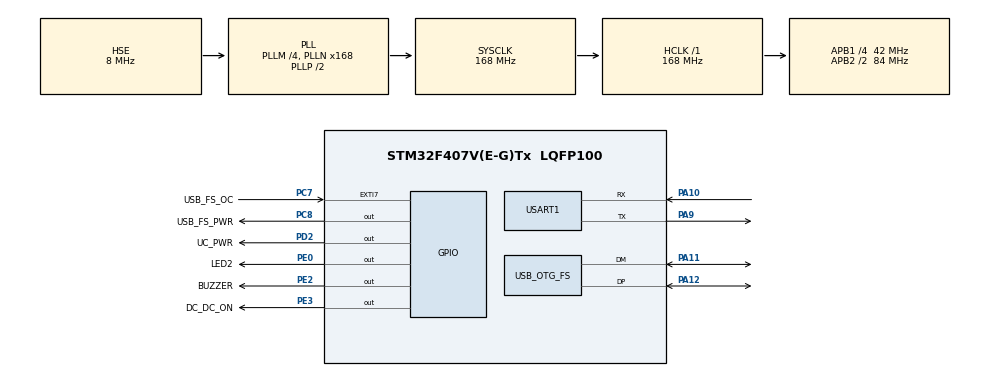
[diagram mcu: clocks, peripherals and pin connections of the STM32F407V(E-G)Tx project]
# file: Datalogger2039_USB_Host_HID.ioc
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Mcu.Family=STM32F4
PH0-OSC_IN.Signal=RCC_OSC_IN
RCC.CortexFreq_Value=168000000
PA10.Mode=Asynchronous
PC8.Signal=GPIO_Output
USB_HOST0.BSP.solution=PC8
PE2.GPIO_Speed=GPIO_SPEED_FREQ_VERY_HIGH
USB_HOST.BSP.number=1
PA11.Mode=Host_Only
PD2.GPIO_Speed=GPIO_SPEED_FREQ_VERY_HIGH
RCC.APB1CLKDivider=RCC_HCLK_DIV4
VP_USB_HOST_VS_USB_HOST_HID_FS.Mode=HID_FS
RCC.SYSCLKSource=RCC_SYSCLKSOURCE_PLLCLK
ProjectManager.StackSize=0x2000
PE0.GPIO_Speed=GPIO_SPEED_FREQ_VERY_HIGH
USB_HOST0.BSP.STBoard=false
PC8.GPIO_Label=USB_FS_PWR
PE0.PinState=GPIO_PIN_SET
PA9.Mode=Asynchronous
PA12.Signal=USB_OTG_FS_DP
ProjectManager.TargetToolchain=STM32CubeIDE
RCC.HCLKFreq_Value=168000000
RCC.APB2TimFreq_Value=168000000
PA9.Signal=USART1_TX
PC7.Signal=GPXTI7
USB_HOST0.BSP.ip=GPIO
RCC.LSE_VALUE=32768
RCC.AHBFreq_Value=168000000
PH0-OSC_IN.Mode=HSE-External-Oscillator
PE3.PinState=GPIO_PIN_SET
RCC.HSE_VALUE=8000000
USB_OTG_FS.phy_itface=HCD_PHY_EMBEDDED
board=custom
RCC.VCOOutputFreq_Value=336000000
USB_HOST.VirtualModeFS=Hid
RCC.APB2Freq_Value=84000000
USB_HOST0.BSP.api=Unknown
USB_HOST.USBH_HandleTypeDef-HID_FS=hUsbHostFS
PH1-OSC_OUT.Signal=RCC_OSC_OUT
PE2.Signal=GPIO_Output
USB_HOST.USBH_DEBUG_LEVEL-HID_FS=3
Mcu.Name=STM32F407V(E-G)Tx
PE0.Signal=GPIO_Output
PC7.GPIO_Label=USB_FS_OC
PH1-OSC_OUT.Mode=HSE-External-Oscillator
RCC.48MHZClocksFreq_Value=48000000
USB_HOST0.BSP.i2caddr=0
RCC.SYSCLKFreq_VALUE=168000000
Mcu.Package=LQFP100
PA12.Mode=Host_Only
PE3.GPIO_Speed=GPIO_SPEED_FREQ_VERY_HIGH
NVIC.OTG_FS_IRQn=true\:0\:0\:false\:false\:true\:false\:true
USART1.VirtualMode=VM_ASYNC
PA11.Signal=USB_OTG_FS_DM
NVIC.EXTI9_5_IRQn=true\:0\:0\:false\:false\:true\:true\:true
PA10.Signal=USART1_RX
USB_OTG_FS.VirtualMode=Host_Only
ProjectManager.HeapSize=0x2000
PC8.GPIO_Speed=GPIO_SPEED_FREQ_VERY_HIGH
PE0.GPIO_Label=LED2
RCC.HSI_VALUE=16000000
RCC.PLLQ=7
NVIC.PriorityGroup=NVIC_PRIORITYGROUP_4
USB_HOST0.BSP.name=Drive_VBUS_FS
RCC.APB2CLKDivider=RCC_HCLK_DIV2
RCC.PLLM=4
RCC.PLLN=168
RCC.APB1TimFreq_Value=84000000
PE3.Signal=GPIO_Output
PE3.GPIO_Label=DC_DC_ON
PD2.Signal=GPIO_Output
NVIC.USART1_IRQn=true\:0\:0\:false\:false\:true\:true\:true
RCC.APB1Freq_Value=42000000
PE2.GPIO_Label=BUZZER
USB_HOST0.BSP.mode=Output
PD2.GPIO_Label=UC_PWR
USB_HOST0.BSP.instance=PC8

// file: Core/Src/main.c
/* USER CODE BEGIN Header */
/**
 ******************************************************************************
 * @file           : main.c
 * @brief          : Main program body
 ******************************************************************************
 * @attention
 *
 * <h2><center>&copy; Copyright (c) 2021 STMicroelectronics.
 * All rights reserved.</center></h2>
 *
 * This software component is licensed by ST under BSD 3-Clause license,
 * the "License"; You may not use this file except in compliance with the
 * License. You may obtain a copy of the License at:
 *                        opensource.org/licenses/BSD-3-Clause
 *
 ******************************************************************************
 */
/* USER CODE END Header */
#include "main.h"
#include "usb_host.h"

/* USER CODE BEGIN Includes */
#include <stdio.h>
/* USER CODE END Includes */

UART_HandleTypeDef huart1;

/* USER CODE BEGIN PV */
uint32_t usb_failure_timeout = 0;
uint32_t usb_failure_timeout2 = 0;
uint32_t usb_failure_timeout3 = 0;
uint32_t usb1_failure_cnt = 0;
uint32_t usb1_fail_freq = 0;
uint8_t usb1_failure_flag = 0;
uint8_t usb1_failure_flag_old = 0;
/* USER CODE END PV */

void SystemClock_Config(void);
static void MX_GPIO_Init(void);
static void MX_USART1_UART_Init(void);
void MX_USB_HOST_Process(void);

/* USER CODE BEGIN PFP */
int __io_putchar(int ch);
int _write(int file, char *ptr, int len);
void HAL_GPIO_EXTI_Callback(uint16_t GPIO_Pin);
void beep(void);
/* USER CODE END PFP */

int main(void)
{

  /* MCU Configuration--------------------------------------------------------*/

  /* Reset of all peripherals, Initializes the Flash interface and the Systick. */
  HAL_Init();

  /* Configure the system clock */
  SystemClock_Config();

  /* Initialize all configured peripherals */
  MX_GPIO_Init();
  MX_USART1_UART_Init();
  MX_USB_HOST_Init();
  /* USER CODE BEGIN 2 */
	beep();
  /* USER CODE END 2 */

  /* Infinite loop */
	while (1) {
    MX_USB_HOST_Process();

    /* USER CODE BEGIN 3 */
		if ((usb_failure_timeout2 + 100) < HAL_GetTick()) {
			usb_failure_timeout2 = HAL_GetTick();
			if ((usb1_failure_flag == 1) && (usb1_failure_flag_old == 0)) {
				usb1_failure_flag_old = 1;
				//UsrLog("USB2 Power fail (interrupt freq: %lu)", usb2_fail_freq);
				UsrLog("USB2 Power fail: Deactivating power");
				HAL_GPIO_WritePin(USB_FS_PWR_GPIO_Port, USB_FS_PWR_Pin,
						GPIO_PIN_SET);
			}

			if ((usb_failure_timeout3 + 5000) < HAL_GetTick()) {
				usb_failure_timeout3 = HAL_GetTick();

				if ((usb1_failure_flag == 0) && (usb1_failure_flag_old == 1)) {
					usb1_failure_flag_old = 0;
					UsrLog("Reactivating power");
					HAL_GPIO_WritePin(USB_FS_PWR_GPIO_Port, USB_FS_PWR_Pin,
							GPIO_PIN_RESET);
				}
			}
		}
	}
  /* USER CODE END 3 */
}

void SystemClock_Config(void)
{
  RCC_OscInitTypeDef RCC_OscInitStruct = {0};
  RCC_ClkInitTypeDef RCC_ClkInitStruct = {0};

  /** Configure the main internal regulator output voltage
  */
  __HAL_RCC_PWR_CLK_ENABLE();
  __HAL_PWR_VOLTAGESCALING_CONFIG(PWR_REGULATOR_VOLTAGE_SCALE1);
  /** Initializes the RCC Oscillators according to the specified parameters
  * in the RCC_OscInitTypeDef structure.
  */
  RCC_OscInitStruct.OscillatorType = RCC_OSCILLATORTYPE_HSE;
  RCC_OscInitStruct.HSEState = RCC_HSE_ON;
  RCC_OscInitStruct.PLL.PLLState = RCC_PLL_ON;
  RCC_OscInitStruct.PLL.PLLSource = RCC_PLLSOURCE_HSE;
  RCC_OscInitStruct.PLL.PLLM = 4;
  RCC_OscInitStruct.PLL.PLLN = 168;
  RCC_OscInitStruct.PLL.PLLP = RCC_PLLP_DIV2;
  RCC_OscInitStruct.PLL.PLLQ = 7;
  if (HAL_RCC_OscConfig(&RCC_OscInitStruct) != HAL_OK)
  {
    Error_Handler();
  }
  /** Initializes the CPU, AHB and APB buses clocks
  */
  RCC_ClkInitStruct.ClockType = RCC_CLOCKTYPE_HCLK|RCC_CLOCKTYPE_SYSCLK
                              |RCC_CLOCKTYPE_PCLK1|RCC_CLOCKTYPE_PCLK2;
  RCC_ClkInitStruct.SYSCLKSource = RCC_SYSCLKSOURCE_PLLCLK;
  RCC_ClkInitStruct.AHBCLKDivider = RCC_SYSCLK_DIV1;
  RCC_ClkInitStruct.APB1CLKDivider = RCC_HCLK_DIV4;
  RCC_ClkInitStruct.APB2CLKDivider = RCC_HCLK_DIV2;

  if (HAL_RCC_ClockConfig(&RCC_ClkInitStruct, FLASH_LATENCY_5) != HAL_OK)
  {
    Error_Handler();
  }
}

static void MX_USART1_UART_Init(void)
{

  huart1.Instance = USART1;
  huart1.Init.BaudRate = 115200;
  huart1.Init.WordLength = UART_WORDLENGTH_8B;
  huart1.Init.StopBits = UART_STOPBITS_1;
  huart1.Init.Parity = UART_PARITY_NONE;
  huart1.Init.Mode = UART_MODE_TX_RX;
  huart1.Init.HwFlowCtl = UART_HWCONTROL_NONE;
  huart1.Init.OverSampling = UART_OVERSAMPLING_16;
  if (HAL_UART_Init(&huart1) != HAL_OK)
  {
    Error_Handler();
  }

}

static void MX_GPIO_Init(void)
{
  GPIO_InitTypeDef GPIO_InitStruct = {0};

  /* GPIO Ports Clock Enable */
  __HAL_RCC_GPIOE_CLK_ENABLE();
  __HAL_RCC_GPIOH_CLK_ENABLE();
  __HAL_RCC_GPIOC_CLK_ENABLE();
  __HAL_RCC_GPIOA_CLK_ENABLE();
  __HAL_RCC_GPIOD_CLK_ENABLE();

  /*Configure GPIO pin Output Level */
  HAL_GPIO_WritePin(BUZZER_GPIO_Port, BUZZER_Pin, GPIO_PIN_RESET);

  /*Configure GPIO pin Output Level */
  HAL_GPIO_WritePin(GPIOE, DC_DC_ON_Pin|LED2_Pin, GPIO_PIN_SET);

  /*Configure GPIO pin Output Level */
  HAL_GPIO_WritePin(USB_FS_PWR_GPIO_Port, USB_FS_PWR_Pin, GPIO_PIN_RESET);

  /*Configure GPIO pin Output Level */
  HAL_GPIO_WritePin(UC_PWR_GPIO_Port, UC_PWR_Pin, GPIO_PIN_RESET);

  /*Configure GPIO pins : BUZZER_Pin DC_DC_ON_Pin LED2_Pin */
  GPIO_InitStruct.Pin = BUZZER_Pin|DC_DC_ON_Pin|LED2_Pin;
  GPIO_InitStruct.Mode = GPIO_MODE_OUTPUT_PP;
  GPIO_InitStruct.Pull = GPIO_NOPULL;
  GPIO_InitStruct.Speed = GPIO_SPEED_FREQ_VERY_HIGH;
  HAL_GPIO_Init(GPIOE, &GPIO_InitStruct);

  /*Configure GPIO pin : USB_FS_OC_Pin */
  GPIO_InitStruct.Pin = USB_FS_OC_Pin;
  GPIO_InitStruct.Mode = GPIO_MODE_IT_RISING;
  GPIO_InitStruct.Pull = GPIO_NOPULL;
  HAL_GPIO_Init(USB_FS_OC_GPIO_Port, &GPIO_InitStruct);

  /*Configure GPIO pin : USB_FS_PWR_Pin */
  GPIO_InitStruct.Pin = USB_FS_PWR_Pin;
  GPIO_InitStruct.Mode = GPIO_MODE_OUTPUT_PP;
  GPIO_InitStruct.Pull = GPIO_NOPULL;
  GPIO_InitStruct.Speed = GPIO_SPEED_FREQ_VERY_HIGH;
  HAL_GPIO_Init(USB_FS_PWR_GPIO_Port, &GPIO_InitStruct);

  /*Configure GPIO pin : UC_PWR_Pin */
  GPIO_InitStruct.Pin = UC_PWR_Pin;
  GPIO_InitStruct.Mode = GPIO_MODE_OUTPUT_PP;
  GPIO_InitStruct.Pull = GPIO_NOPULL;
  GPIO_InitStruct.Speed = GPIO_SPEED_FREQ_VERY_HIGH;
  HAL_GPIO_Init(UC_PWR_GPIO_Port, &GPIO_InitStruct);

  /* EXTI interrupt init*/
  HAL_NVIC_SetPriority(EXTI9_5_IRQn, 0, 0);
  HAL_NVIC_EnableIRQ(EXTI9_5_IRQn);

}

/* USER CODE BEGIN 4 */
int __io_putchar(int ch) {
	uint8_t c[1];
	c[0] = ch & 0x00FF;
	HAL_UART_Transmit(&huart1, &*c, 1, 10);
	return ch;
}

int _write(int file, char *ptr, int len) {
	int DataIdx;
	for (DataIdx = 0; DataIdx < len; DataIdx++) {
		__io_putchar(*ptr++);
	}
	return len;
}

/* Handle interrupt */
// EXTI Line External Interrupt ISR Handler CallBackFun
void HAL_GPIO_EXTI_Callback(uint16_t GPIO_Pin) {
	if (GPIO_Pin == GPIO_PIN_7) // If The INT Source Is EXTI Line7 (PD7 Pin)
	{
		HAL_GPIO_TogglePin(LED2_GPIO_Port, LED2_Pin); // Toggle The Output (LED) Pin
		usb1_failure_cnt++;
		//UsrLog("USB2 Power fail"); usb2_failure_flag
	}
}

void beep(void) {
	HAL_GPIO_WritePin(BUZZER_GPIO_Port, BUZZER_Pin, GPIO_PIN_SET);
	HAL_Delay(5);
	HAL_GPIO_WritePin(BUZZER_GPIO_Port, BUZZER_Pin, GPIO_PIN_RESET);
}
/* USER CODE END 4 */

void Error_Handler(void)
{
	__disable_irq();
	while (1) {
	}
}

/************************ (C) COPYRIGHT STMicroelectronics *****END OF FILE****/
